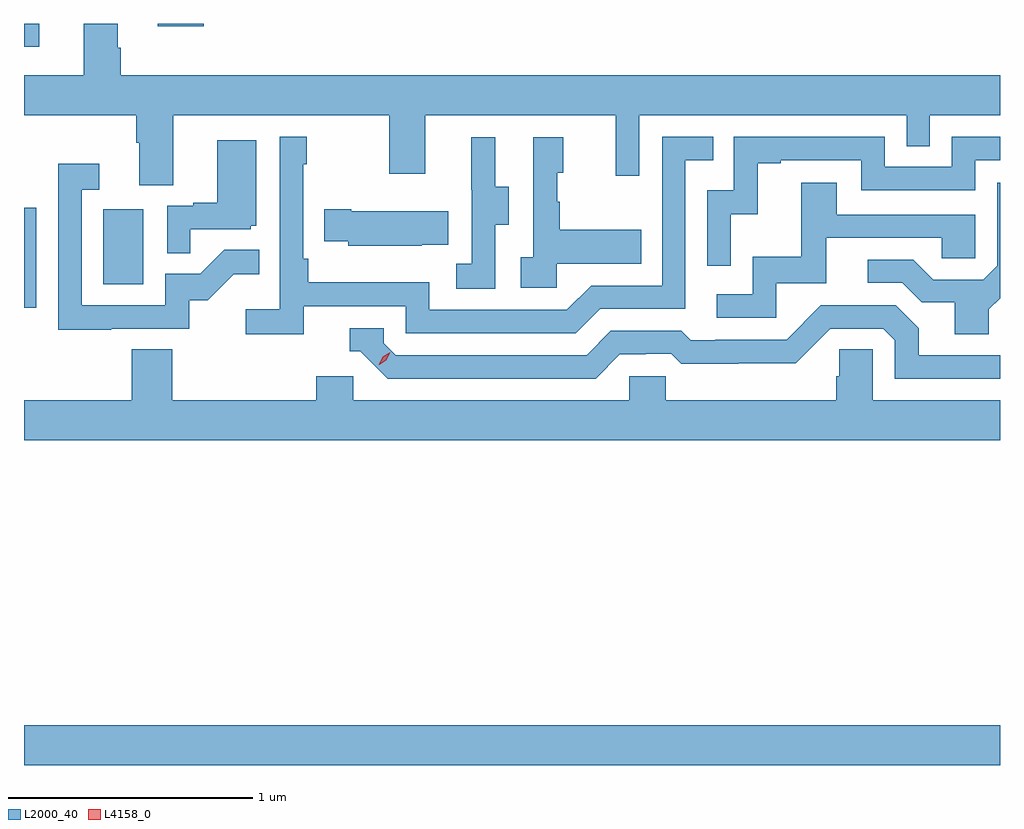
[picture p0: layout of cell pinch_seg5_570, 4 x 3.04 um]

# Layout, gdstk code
import gdstk
lib = gdstk.Library(unit=1e-6, precision=1e-09)
def R(c, l, rs):  # rectangles x0, y0, x1, y1
    for r in rs: c.add(gdstk.rectangle(r[:2], r[2:], *l))
def P(c, l, *ps):  # polygons
    for p in ps: c.add(gdstk.Polygon(p, *l))
L2000_40 = (2000, 40)
L4158_0 = (4158, 0)

pinch_seg5_570 = lib.new_cell('pinch_seg5_570')
R(pinch_seg5_570, L2000_40, [(1078.747,864.752,1082.747,864.916), (1078.747,866.627,1078.798,867.037), (1079.072,866.724,1079.236,867.031), (1078.747,867.696,1078.81,867.791), (1079.295,867.78,1079.483,867.791)])
P(pinch_seg5_570, L2000_40, [(1079.359,867.416),(1080.244,867.416),(1080.244,867.177),(1080.391,867.177),(1080.391,867.416),(1081.172,867.416),(1081.172,867.168),(1081.269,867.168),(1081.269,867.416),(1082.364,867.416),(1082.364,867.289),(1082.46,867.289),(1082.46,867.416),(1082.747,867.416),(1082.747,867.58),(1079.144,867.58),(1079.144,867.692),(1079.131,867.692),(1079.131,867.791),(1078.991,867.791),(1078.991,867.58),(1078.747,867.58),(1078.747,867.416),(1079.207,867.416),(1079.207,867.304),(1079.219,867.304),(1079.219,867.13),(1079.359,867.13)],
  [(1079.894,866.634),(1080.312,866.634),(1080.312,866.523),(1081.009,866.523),(1081.108,866.622),(1081.458,866.622),(1081.458,867.231),(1081.571,867.231),(1081.571,867.327),(1081.362,867.327),(1081.362,866.718),(1081.071,866.718),(1080.972,866.619),(1080.408,866.619),(1080.408,866.731),(1079.912,866.731),(1079.912,866.827),(1079.892,866.827),(1079.892,867.215),(1079.905,867.215),(1079.905,867.328),(1079.796,867.328),(1079.796,866.62),(1079.655,866.62),(1079.655,866.518),(1079.894,866.518)],
  [(1081.644,867.011),(1081.754,867.011),(1081.754,867.219),(1081.849,867.219),(1081.849,867.231),(1082.178,867.231),(1082.178,867.108),(1082.646,867.108),(1082.646,867.231),(1082.747,867.231),(1082.747,867.327),(1082.55,867.327),(1082.55,867.204),(1082.274,867.204),(1082.274,867.327),(1081.656,867.327),(1081.656,867.108),(1081.548,867.108),(1081.548,866.799),(1081.644,866.799)],
  [(1080.678,866.968),(1080.733,866.968),(1080.733,867.123),(1080.679,867.123),(1080.679,867.325),(1080.581,867.325),(1080.581,867.111),(1080.582,867.111),(1080.582,866.807),(1080.519,866.807),(1080.519,866.704),(1080.678,866.704)],
  [(1080.93,866.807),(1081.277,866.807),(1081.277,866.947),(1080.943,866.947),(1080.943,867.062),(1080.933,867.062),(1080.933,867.18),(1080.958,867.18),(1080.958,867.325),(1080.834,867.325),(1080.834,866.834),(1080.783,866.834),(1080.783,866.709),(1080.93,866.709)],
  [(1079.429,866.949),(1079.676,866.949),(1079.676,866.964),(1079.698,866.964),(1079.698,867.313),(1079.54,867.313),(1079.54,867.058),(1079.441,867.058),(1079.441,867.045),(1079.334,867.045),(1079.334,866.851),(1079.429,866.851)],
  [(1079.105,866.541),(1079.424,866.541),(1079.424,866.658),(1079.5,866.658),(1079.607,866.765),(1079.711,866.765),(1079.711,866.864),(1079.567,866.864),(1079.469,866.766),(1079.325,866.766),(1079.325,866.637),(1078.983,866.637),(1078.983,867.111),(1079.056,867.111),(1079.056,867.217),(1078.887,867.217),(1078.887,866.536),(1079.105,866.536)],
  [(1081.83,866.727),(1082.035,866.727),(1082.035,866.913),(1082.509,866.913),(1082.509,866.829),(1082.646,866.829),(1082.646,867.009),(1082.077,867.009),(1082.077,867.139),(1081.933,867.139),(1081.933,866.836),(1081.734,866.836),(1081.734,866.682),(1081.587,866.682),(1081.587,866.586),(1081.83,866.586)],
  [(1082.701,866.62),(1082.747,866.666),(1082.747,867.139),(1082.736,867.139),(1082.736,866.799),(1082.679,866.742),(1082.473,866.742),(1082.392,866.823),(1082.205,866.823),(1082.205,866.73),(1082.346,866.73),(1082.426,866.65),(1082.561,866.65),(1082.561,866.518),(1082.701,866.518)],
  [(1080.377,866.885),(1080.485,866.885),(1080.485,867.022),(1080.088,867.022),(1080.088,867.03),(1079.977,867.03),(1079.977,866.9),(1080.075,866.9),(1080.075,866.882),(1080.377,866.882)],
  [(1081.189,866.436),(1081.296,866.436),(1081.296,866.439),(1081.399,866.439),(1081.441,866.397),(1081.674,866.397),(1081.674,866.399),(1081.91,866.399),(1082.052,866.541),(1082.268,866.541),(1082.316,866.493),(1082.316,866.337),(1082.747,866.337),(1082.747,866.433),(1082.413,866.433),(1082.413,866.543),(1082.319,866.637),(1082.013,866.637),(1081.872,866.496),(1081.579,866.496),(1081.579,866.493),(1081.48,866.493),(1081.441,866.532),(1081.152,866.532),(1081.053,866.433),(1080.27,866.433),(1080.222,866.481),(1080.222,866.544),(1080.083,866.544),(1080.083,866.448),(1080.126,866.448),(1080.237,866.337),(1081.09,866.337)],
  [(1082.747,866.248),(1082.226,866.248),(1082.226,866.456),(1082.089,866.456),(1082.089,866.346),(1082.075,866.346),(1082.075,866.248),(1081.377,866.248),(1081.377,866.346),(1081.227,866.346),(1081.227,866.248),(1080.096,866.248),(1080.096,866.346),(1079.945,866.346),(1079.945,866.248),(1079.354,866.248),(1079.354,866.456),(1079.189,866.456),(1079.189,866.248),(1078.747,866.248),(1078.747,866.084),(1082.747,866.084)])
P(pinch_seg5_570, L4158_0, [(1080.201,866.393),(1080.201,866.393),(1080.217,866.426),(1080.247,866.445),(1080.248,866.445),(1080.248,866.445),(1080.232,866.412),(1080.202,866.393)])

lib.write_gds('pinch_seg5_570.gds')
